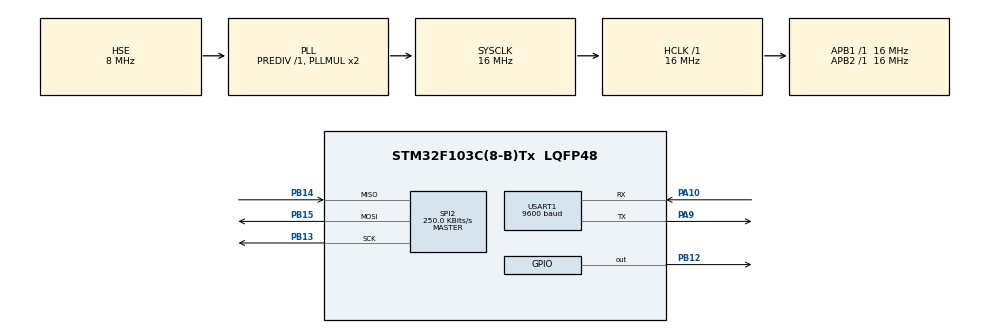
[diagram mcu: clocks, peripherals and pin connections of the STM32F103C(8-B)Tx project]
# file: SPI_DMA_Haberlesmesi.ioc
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Dma.Request0=SPI2_RX
Dma.Request1=SPI2_TX
Dma.SPI2_RX.0.Direction=DMA_PERIPH_TO_MEMORY
Dma.SPI2_RX.0.Instance=DMA1_Channel4
Dma.SPI2_RX.0.MemDataAlignment=DMA_MDATAALIGN_BYTE
Dma.SPI2_RX.0.MemInc=DMA_MINC_ENABLE
Dma.SPI2_RX.0.Mode=DMA_NORMAL
Dma.SPI2_RX.0.PeriphDataAlignment=DMA_PDATAALIGN_BYTE
Dma.SPI2_RX.0.PeriphInc=DMA_PINC_DISABLE
Dma.SPI2_RX.0.Priority=DMA_PRIORITY_LOW
Dma.SPI2_TX.1.Direction=DMA_MEMORY_TO_PERIPH
Dma.SPI2_TX.1.Instance=DMA1_Channel5
Dma.SPI2_TX.1.MemDataAlignment=DMA_MDATAALIGN_BYTE
Dma.SPI2_TX.1.MemInc=DMA_MINC_ENABLE
Dma.SPI2_TX.1.Mode=DMA_NORMAL
Dma.SPI2_TX.1.PeriphDataAlignment=DMA_PDATAALIGN_BYTE
Dma.SPI2_TX.1.PeriphInc=DMA_PINC_DISABLE
Dma.SPI2_TX.1.Priority=DMA_PRIORITY_LOW
Mcu.Family=STM32F1
Mcu.Name=STM32F103C(8-B)Tx
Mcu.Package=LQFP48
NVIC.DMA1_Channel4_IRQn=true\:0\:0\:false\:false\:true\:false\:true
NVIC.DMA1_Channel5_IRQn=true\:0\:0\:false\:false\:true\:false\:true
NVIC.PriorityGroup=NVIC_PRIORITYGROUP_4
PA10.Mode=Asynchronous
PA10.Signal=USART1_RX
PA13.Mode=Serial_Wire
PA13.Signal=SYS_JTMS-SWDIO
PA14.Mode=Serial_Wire
PA14.Signal=SYS_JTCK-SWCLK
PA9.Mode=Asynchronous
PA9.Signal=USART1_TX
PB12.Signal=GPIO_Output
PB13.Mode=Full_Duplex_Master
PB13.Signal=SPI2_SCK
PB14.Mode=Full_Duplex_Master
PB14.Signal=SPI2_MISO
PB15.Mode=Full_Duplex_Master
PB15.Signal=SPI2_MOSI
PD0-OSC_IN.Mode=HSE-External-Oscillator
PD0-OSC_IN.Signal=RCC_OSC_IN
PD1-OSC_OUT.Mode=HSE-External-Oscillator
PD1-OSC_OUT.Signal=RCC_OSC_OUT
ProjectManager.HeapSize=0x200
ProjectManager.StackSize=0x400
ProjectManager.TargetToolchain=STM32CubeIDE
RCC.AHBFreq_Value=16000000
RCC.APB1Freq_Value=16000000
RCC.APB1TimFreq_Value=16000000
RCC.APB2Freq_Value=16000000
RCC.APB2TimFreq_Value=16000000
RCC.HCLKFreq_Value=16000000
RCC.PLLSourceVirtual=RCC_PLLSOURCE_HSE
RCC.SYSCLKFreq_VALUE=16000000
RCC.SYSCLKSource=RCC_SYSCLKSOURCE_PLLCLK
RCC.USBFreq_Value=16000000
SPI2.BaudRatePrescaler=SPI_BAUDRATEPRESCALER_64
SPI2.CLKPolarity=SPI_POLARITY_HIGH
SPI2.CalculateBaudRate=250.0 KBits/s
SPI2.Direction=SPI_DIRECTION_2LINES
SPI2.Mode=SPI_MODE_MASTER
SPI2.VirtualType=VM_MASTER
USART1.BaudRate=9600
USART1.VirtualMode=VM_ASYNC
board=custom

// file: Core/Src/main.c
/* USER CODE BEGIN Header */
/**
  ******************************************************************************
  * @file           : main.c
  * @brief          : Main program body
  ******************************************************************************
  * @attention
  *
  * <h2><center>&copy; Copyright (c) 2022 STMicroelectronics.
  * All rights reserved.</center></h2>
  *
  * This software component is licensed by ST under BSD 3-Clause license,
  * the "License"; You may not use this file except in compliance with the
  * License. You may obtain a copy of the License at:
  *                        opensource.org/licenses/BSD-3-Clause
  *
  ******************************************************************************
  */
/* USER CODE END Header */
#include "main.h"

/* USER CODE BEGIN Includes */
#include "string.h"
/* USER CODE END Includes */

SPI_HandleTypeDef hspi2;
DMA_HandleTypeDef hdma_spi2_rx;
DMA_HandleTypeDef hdma_spi2_tx;

UART_HandleTypeDef huart1;

void SystemClock_Config(void);
static void MX_GPIO_Init(void);
static void MX_DMA_Init(void);
static void MX_SPI2_Init(void);
static void MX_USART1_UART_Init(void);
/* USER CODE BEGIN PFP */

uint8_t uartTxBuffer[] = "SPI DMA Haberlesmesi";
uint8_t aTxBuffer[]="DMA ile deneme";
uint8_t aRxBuffer[55];
/* USER CODE END PFP */

int main(void)
{

  /* MCU Configuration--------------------------------------------------------*/

  /* Reset of all peripherals, Initializes the Flash interface and the Systick. */
  HAL_Init();

  /* Configure the system clock */
  SystemClock_Config();

  /* Initialize all configured peripherals */
  MX_GPIO_Init();
  MX_DMA_Init();
  MX_SPI2_Init();
  MX_USART1_UART_Init();
  /* USER CODE BEGIN 2 */
  if(HAL_UART_Transmit(&huart1, (uint8_t*)uartTxBuffer, 55, 100)!= HAL_OK)
    {
      Error_Handler();
    }
  HAL_GPIO_WritePin(GPIOB, GPIO_PIN_12, GPIO_PIN_RESET);

    __HAL_SPI_ENABLE(&hspi2);

    if(HAL_SPI_TransmitReceive_DMA(&hspi2, (uint8_t*)aTxBuffer, (uint8_t *)aRxBuffer, 55) != HAL_OK)
      {
        Error_Handler();
      }

      while (HAL_SPI_GetState(&hspi2) != HAL_SPI_STATE_READY);
  /* USER CODE END 2 */

  /* Infinite loop */
  while (1)
  {

  }
}

void SystemClock_Config(void)
{
  RCC_OscInitTypeDef RCC_OscInitStruct = {0};
  RCC_ClkInitTypeDef RCC_ClkInitStruct = {0};

  /** Initializes the RCC Oscillators according to the specified parameters
  * in the RCC_OscInitTypeDef structure.
  */
  RCC_OscInitStruct.OscillatorType = RCC_OSCILLATORTYPE_HSE;
  RCC_OscInitStruct.HSEState = RCC_HSE_ON;
  RCC_OscInitStruct.HSEPredivValue = RCC_HSE_PREDIV_DIV1;
  RCC_OscInitStruct.HSIState = RCC_HSI_ON;
  RCC_OscInitStruct.PLL.PLLState = RCC_PLL_ON;
  RCC_OscInitStruct.PLL.PLLSource = RCC_PLLSOURCE_HSE;
  RCC_OscInitStruct.PLL.PLLMUL = RCC_PLL_MUL2;
  if (HAL_RCC_OscConfig(&RCC_OscInitStruct) != HAL_OK)
  {
    Error_Handler();
  }
  /** Initializes the CPU, AHB and APB buses clocks
  */
  RCC_ClkInitStruct.ClockType = RCC_CLOCKTYPE_HCLK|RCC_CLOCKTYPE_SYSCLK
                              |RCC_CLOCKTYPE_PCLK1|RCC_CLOCKTYPE_PCLK2;
  RCC_ClkInitStruct.SYSCLKSource = RCC_SYSCLKSOURCE_PLLCLK;
  RCC_ClkInitStruct.AHBCLKDivider = RCC_SYSCLK_DIV1;
  RCC_ClkInitStruct.APB1CLKDivider = RCC_HCLK_DIV1;
  RCC_ClkInitStruct.APB2CLKDivider = RCC_HCLK_DIV1;

  if (HAL_RCC_ClockConfig(&RCC_ClkInitStruct, FLASH_LATENCY_0) != HAL_OK)
  {
    Error_Handler();
  }
}

static void MX_SPI2_Init(void)
{

  /* SPI2 parameter configuration*/
  hspi2.Instance = SPI2;
  hspi2.Init.Mode = SPI_MODE_MASTER;
  hspi2.Init.Direction = SPI_DIRECTION_2LINES;
  hspi2.Init.DataSize = SPI_DATASIZE_8BIT;
  hspi2.Init.CLKPolarity = SPI_POLARITY_HIGH;
  hspi2.Init.CLKPhase = SPI_PHASE_1EDGE;
  hspi2.Init.NSS = SPI_NSS_SOFT;
  hspi2.Init.BaudRatePrescaler = SPI_BAUDRATEPRESCALER_64;
  hspi2.Init.FirstBit = SPI_FIRSTBIT_MSB;
  hspi2.Init.TIMode = SPI_TIMODE_DISABLE;
  hspi2.Init.CRCCalculation = SPI_CRCCALCULATION_DISABLE;
  hspi2.Init.CRCPolynomial = 10;
  if (HAL_SPI_Init(&hspi2) != HAL_OK)
  {
    Error_Handler();
  }

}

static void MX_USART1_UART_Init(void)
{

  huart1.Instance = USART1;
  huart1.Init.BaudRate = 9600;
  huart1.Init.WordLength = UART_WORDLENGTH_8B;
  huart1.Init.StopBits = UART_STOPBITS_1;
  huart1.Init.Parity = UART_PARITY_NONE;
  huart1.Init.Mode = UART_MODE_TX_RX;
  huart1.Init.HwFlowCtl = UART_HWCONTROL_NONE;
  huart1.Init.OverSampling = UART_OVERSAMPLING_16;
  if (HAL_UART_Init(&huart1) != HAL_OK)
  {
    Error_Handler();
  }

}

static void MX_DMA_Init(void)
{

  /* DMA controller clock enable */
  __HAL_RCC_DMA1_CLK_ENABLE();

  /* DMA interrupt init */
  /* DMA1_Channel4_IRQn interrupt configuration */
  HAL_NVIC_SetPriority(DMA1_Channel4_IRQn, 0, 0);
  HAL_NVIC_EnableIRQ(DMA1_Channel4_IRQn);
  /* DMA1_Channel5_IRQn interrupt configuration */
  HAL_NVIC_SetPriority(DMA1_Channel5_IRQn, 0, 0);
  HAL_NVIC_EnableIRQ(DMA1_Channel5_IRQn);

}

static void MX_GPIO_Init(void)
{
  GPIO_InitTypeDef GPIO_InitStruct = {0};

  /* GPIO Ports Clock Enable */
  __HAL_RCC_GPIOD_CLK_ENABLE();
  __HAL_RCC_GPIOB_CLK_ENABLE();
  __HAL_RCC_GPIOA_CLK_ENABLE();

  /*Configure GPIO pin Output Level */
  HAL_GPIO_WritePin(GPIOB, GPIO_PIN_12, GPIO_PIN_RESET);

  /*Configure GPIO pin : PB12 */
  GPIO_InitStruct.Pin = GPIO_PIN_12;
  GPIO_InitStruct.Mode = GPIO_MODE_OUTPUT_PP;
  GPIO_InitStruct.Pull = GPIO_NOPULL;
  GPIO_InitStruct.Speed = GPIO_SPEED_FREQ_LOW;
  HAL_GPIO_Init(GPIOB, &GPIO_InitStruct);

}

/* USER CODE BEGIN 4 */
void HAL_SPI_TxRxCpltCallback(SPI_HandleTypeDef *hspi)
{
	if(HAL_SPI_TransmitReceive_DMA(&hspi2, (uint8_t*)aTxBuffer, (uint8_t *)aRxBuffer, 55) != HAL_OK)
	      {
	        Error_Handler();
	      }
	HAL_GPIO_WritePin(GPIOB, GPIO_PIN_12,GPIO_PIN_SET);

	      while (HAL_SPI_GetState(&huart1) != HAL_SPI_STATE_READY);
	      if(HAL_UART_Transmit(&huart1, (uint8_t*)uartTxBuffer, 55, 100)!= HAL_OK)
	        {
	          Error_Handler();
	        }
}
/* USER CODE END 4 */

void Error_Handler(void)
{
}

/************************ (C) COPYRIGHT STMicroelectronics *****END OF FILE****/
